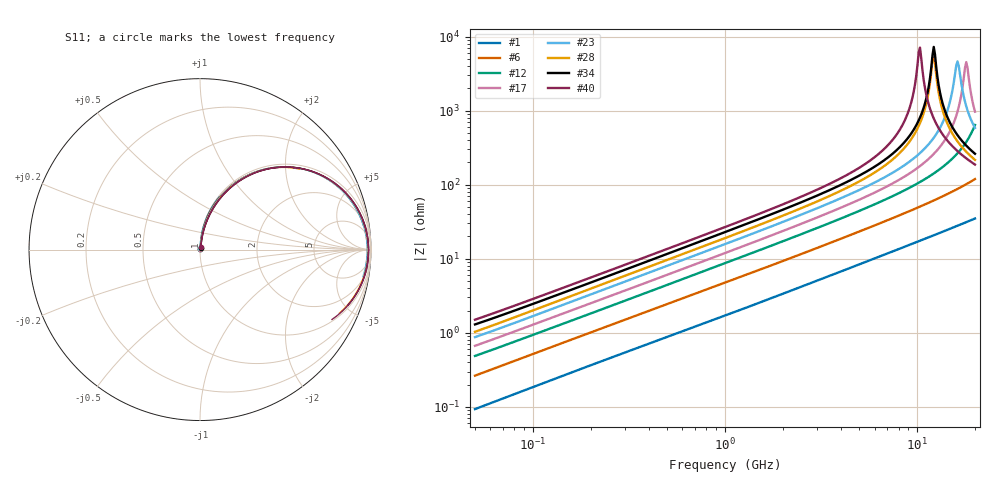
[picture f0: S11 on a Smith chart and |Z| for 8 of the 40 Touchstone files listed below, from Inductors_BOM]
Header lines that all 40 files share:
!These Parameters are Measured in Series Mode Connection
!  o--[Z]--o
!Port1  Port2
!  o-------o
!Freq. Start=50[MHz] Stop=20[GHz], 401[Steps]
# Hz S RI R 50
!Freq.(Hz) S11(Real) S11(Imag) S21(Real) S21(Imag) S12(Real) S12(Imag) S22(Real) S22(Imag)
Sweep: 50 MHz to 20 GHz
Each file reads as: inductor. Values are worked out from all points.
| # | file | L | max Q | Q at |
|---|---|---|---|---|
| 1 | LQP02TQ0N2B02_series.s2p | 294 pH | 88 | 9.6 GHz |
| 2 | LQP02TQ0N3B02_series.s2p | 368 pH | 66 | 10.35 GHz |
| 3 | LQP02TQ0N4B02_series.s2p | 500 pH | 57.1 | 7.784 GHz |
| 4 | LQP02TQ0N5B02_series.s2p | 596 pH | 49.7 | 7.784 GHz |
| 5 | LQP02TQ0N6B02_series.s2p | 713 pH | 42.1 | 7.668 GHz |
| 6 | LQP02TQ0N7B02_series.s2p | 827 pH | 42.7 | 6.701 GHz |
| 7 | LQP02TQ0N8B02_series.s2p | 947 pH | 40 | 6.034 GHz |
| 8 | LQP02TQ0N9B02_series.s2p | 1.05 nH | 37.6 | 6.034 GHz |
| 9 | LQP02TQ1N0B02_series.s2p | 1.14 nH | 38.9 | 5.041 GHz |
| 10 | LQP02TQ1N1B02_series.s2p | 1.26 nH | 39.8 | 5.856 GHz |
| 11 | LQP02TQ1N2B02_series.s2p | 1.38 nH | 39.3 | 5.683 GHz |
| 12 | LQP02TQ1N3B02_series.s2p | 1.48 nH | 37 | 5.683 GHz |
| 13 | LQP02TQ1N4B02_series.s2p | 1.57 nH | 34.7 | 5.273 GHz |
| 14 | LQP02TQ1N5B02_series.s2p | 1.72 nH | 34.4 | 5.353 GHz |
| 15 | LQP02TQ1N6B02_series.s2p | 1.84 nH | 33.5 | 4.472 GHz |
| 16 | LQP02TQ1N7B02_series.s2p | 1.9 nH | 33.5 | 4.967 GHz |
| 17 | LQP02TQ1N8B02_series.s2p | 2.03 nH | 33.9 | 4.608 GHz |
| 18 | LQP02TQ1N9B02_series.s2p | 2.15 nH | 33.4 | 4.472 GHz |
| 19 | LQP02TQ2N0B02_series.s2p | 2.25 nH | 33.7 | 4.149 GHz |
| 20 | LQP02TQ2N1B02_series.s2p | 2.37 nH | 32.9 | 4.027 GHz |
| 21 | LQP02TQ2N2B02_series.s2p | 2.5 nH | 32.5 | 4.088 GHz |
| 22 | LQP02TQ2N3B02_series.s2p | 2.62 nH | 33 | 3.85 GHz |
| 23 | LQP02TQ2N4B02_series.s2p | 2.63 nH | 32.7 | 3.85 GHz |
| 24 | LQP02TQ2N5B02_series.s2p | 2.76 nH | 34.7 | 3.265 GHz |
| 25 | LQP02TQ2N6B02_series.s2p | 2.87 nH | 32.7 | 3.265 GHz |
| 26 | LQP02TQ2N7B02_series.s2p | 2.98 nH | 31.9 | 3.217 GHz |
| 27 | LQP02TQ2N8B02_series.s2p | 3.08 nH | 31.5 | 3.122 GHz |
| 28 | LQP02TQ2N9B02_series.s2p | 3.15 nH | 31.7 | 3.736 GHz |
| 29 | LQP02TQ3N0B02_series.s2p | 3.28 nH | 30.8 | 3.736 GHz |
| 30 | LQP02TQ3N1B02_series.s2p | 3.38 nH | 30.7 | 3.681 GHz |
| 31 | LQP02TQ3N2B02_series.s2p | 3.5 nH | 29.9 | 4.027 GHz |
| 32 | LQP02TQ3N3B02_series.s2p | 3.57 nH | 28.2 | 4.088 GHz |
| 33 | LQP02TQ3N4B02_series.s2p | 3.72 nH | 28.9 | 4.212 GHz |
| 34 | LQP02TQ3N5B02_series.s2p | 3.83 nH | 28.9 | 4.027 GHz |
| 35 | LQP02TQ3N6B02_series.s2p | 3.91 nH | 28.1 | 3.967 GHz |
| 36 | LQP02TQ3N7B02_series.s2p | 4.04 nH | 29.4 | 3.793 GHz |
| 37 | LQP02TQ3N8B02_series.s2p | 4.15 nH | 29.4 | 3.681 GHz |
| 38 | LQP02TQ3N9B02_series.s2p | 4.25 nH | 28.7 | 3.681 GHz |
| 39 | LQP02TQ4N0B02_series.s2p | 4.37 nH | 29.5 | 3.519 GHz |
| 40 | LQP02TQ4N1B02_series.s2p | 4.49 nH | 29 | 3.467 GHz |
